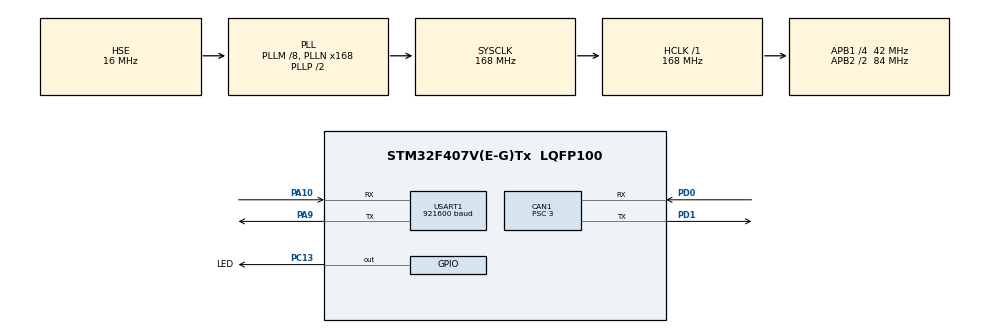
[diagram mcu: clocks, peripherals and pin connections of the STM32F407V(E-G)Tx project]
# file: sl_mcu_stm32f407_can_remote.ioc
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CAN1.BS1=CAN_BS1_11TQ
CAN1.BS2=CAN_BS2_2TQ
CAN1.CalculateBaudRate=1000000
CAN1.CalculateTimeBit=1000
CAN1.CalculateTimeQuantum=71.42857142857143
CAN1.Prescaler=3
Mcu.Family=STM32F4
Mcu.Name=STM32F407V(E-G)Tx
Mcu.Package=LQFP100
NVIC.CAN1_RX0_IRQn=true\:0\:0\:false\:false\:true\:true\:true\:true
NVIC.CAN1_RX1_IRQn=true\:0\:0\:false\:false\:true\:true\:true\:true
NVIC.CAN1_SCE_IRQn=true\:0\:0\:false\:false\:true\:true\:true\:true
NVIC.CAN1_TX_IRQn=true\:0\:0\:false\:false\:true\:true\:true\:true
NVIC.PriorityGroup=NVIC_PRIORITYGROUP_4
PA10.Mode=Asynchronous
PA10.Signal=USART1_RX
PA13.Mode=Trace_Asynchronous_SW
PA13.Signal=SYS_JTMS-SWDIO
PA14.Mode=Trace_Asynchronous_SW
PA14.Signal=SYS_JTCK-SWCLK
PA9.Mode=Asynchronous
PA9.Signal=USART1_TX
PB3.Mode=Trace_Asynchronous_SW
PB3.Signal=SYS_JTDO-SWO
PC13-ANTI_TAMP.GPIO_Label=LED
PC13-ANTI_TAMP.GPIO_ModeDefaultOutputPP=GPIO_MODE_OUTPUT_OD
PC13-ANTI_TAMP.GPIO_PuPd=GPIO_NOPULL
PC13-ANTI_TAMP.PinState=GPIO_PIN_SET
PC13-ANTI_TAMP.Signal=GPIO_Output
PD0.Mode=CAN_Activate
PD0.Signal=CAN1_RX
PD1.Mode=CAN_Activate
PD1.Signal=CAN1_TX
PH0-OSC_IN.Mode=HSE-External-Oscillator
PH0-OSC_IN.Signal=RCC_OSC_IN
PH1-OSC_OUT.Mode=HSE-External-Oscillator
PH1-OSC_OUT.Signal=RCC_OSC_OUT
ProjectManager.HeapSize=0x200
ProjectManager.StackSize=0x400
ProjectManager.TargetToolchain=STM32CubeIDE
RCC.48MHZClocksFreq_Value=48000000
RCC.AHBFreq_Value=168000000
RCC.APB1CLKDivider=RCC_HCLK_DIV4
RCC.APB1Freq_Value=42000000
RCC.APB1TimFreq_Value=84000000
RCC.APB2CLKDivider=RCC_HCLK_DIV2
RCC.APB2Freq_Value=84000000
RCC.APB2TimFreq_Value=168000000
RCC.CortexFreq_Value=168000000
RCC.HCLKFreq_Value=168000000
RCC.HSE_VALUE=16000000
RCC.HSI_VALUE=16000000
RCC.LSE_VALUE=32768
RCC.PLLM=8
RCC.PLLN=168
RCC.PLLQ=7
RCC.PLLSourceVirtual=RCC_PLLSOURCE_HSE
RCC.SYSCLKFreq_VALUE=168000000
RCC.SYSCLKSource=RCC_SYSCLKSOURCE_PLLCLK
RCC.VCOOutputFreq_Value=336000000
USART1.BaudRate=921600
USART1.OverSampling=UART_OVERSAMPLING_8
USART1.VirtualMode=VM_ASYNC
VP_RNG_VS_RNG.Mode=RNG_Activate
board=custom

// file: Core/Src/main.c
/* USER CODE BEGIN Header */
/**
 ******************************************************************************
 * @file           : main.c
 * @brief          : Main program body
 ******************************************************************************
 * @attention
 *
 * Copyright (c) 2026 STM32World <lth@stm32world.com>
 * All rights reserved.
 *
 * This software is licensed under terms that can be found in the LICENSE file
 * in the root directory of this software component.
 * If no LICENSE file comes with this software, it is provided AS-IS.
 *
 ******************************************************************************
 */
/* USER CODE END Header */
#include "main.h"

/* USER CODE BEGIN Includes */
#include <stdio.h>
/* USER CODE END Includes */

/* USER CODE BEGIN PD */

// Our Message IDs
#define CAN_ID_UPT     0b10111111100   // 0x5fc - 1532
#define CAN_ID_RND     0b10111111101   // 0x5fd - 1533

#define CAN_FILTER_ID_REMOTE 0b00010000

/* USER CODE END PD */

CAN_HandleTypeDef hcan1;

RNG_HandleTypeDef hrng;

UART_HandleTypeDef huart1;

/* USER CODE BEGIN PV */

CAN_TxHeaderTypeDef TxHeader;
CAN_RxHeaderTypeDef RxHeader;

uint8_t TxData[8];
uint8_t RxData[8];

uint32_t msg_count = 0;

/* USER CODE END PV */

void SystemClock_Config(void);
static void MX_GPIO_Init(void);
static void MX_USART1_UART_Init(void);
static void MX_CAN1_Init(void);
static void MX_RNG_Init(void);

/* USER CODE BEGIN 0 */

// Send printf to uart1
int __io_putchar(int ch) {
    if (ch == '\n') {
        HAL_UART_Transmit(&huart1, (uint8_t*) "\r", 1, HAL_MAX_DELAY);
    }
    if (HAL_UART_Transmit(&huart1, (uint8_t*) &ch, 1, HAL_MAX_DELAY) != HAL_OK) {
        return -1;
    }
    return ch;
}

// CAN Callbacks

void HAL_CAN_TxMailbox0CompleteCallback(CAN_HandleTypeDef *hcan) {
    printf("ST HAL_CAN_TxMailbox0CompleteCallback\n");
}

void HAL_CAN_TxMailbox1CompleteCallback(CAN_HandleTypeDef *hcan) {
    printf("ST HAL_CAN_TxMailbox1CompleteCallback\n");
}

void HAL_CAN_TxMailbox2CompleteCallback(CAN_HandleTypeDef *hcan) {
    printf("ST HAL_CAN_TxMailbox2CompleteCallback\n");
}

void HAL_CAN_TxMailbox0AbortCallback(CAN_HandleTypeDef *hcan) {
    printf("ST HAL_CAN_TxMailbox0AbortCallback\n");
}

void HAL_CAN_TxMailbox1AbortCallback(CAN_HandleTypeDef *hcan) {
    printf("ST HAL_CAN_TxMailbox1AbortCallback\n");
}

void HAL_CAN_TxMailbox2AbortCallback(CAN_HandleTypeDef *hcan) {
    printf("ST HAL_CAN_TxMailbox2AbortCallback\n");
}

void HAL_CAN_RxFifo0MsgPendingCallback(CAN_HandleTypeDef *hcan) {
    printf("ST HAL_CAN_RxFifo0MsgPendingCallback\n");
    if (HAL_CAN_GetRxMessage(hcan, CAN_RX_FIFO0, &RxHeader, RxData) != HAL_OK) {
        printf("ST Error receiving\n");
        Error_Handler();
    }

    if (hcan->Instance == CAN1) {
        printf("ST Got message on CAN1\n");
        if (RxHeader.RTR == CAN_RTR_REMOTE) {

            printf("ST CAN1 does not handle RTR\n");

        } else {

            uint32_t *i = (uint32_t*) &RxData[0];

            if (RxHeader.RTR == CAN_RTR_DATA) {
                if (RxHeader.StdId == CAN_ID_UPT) {
                    printf("ST CAN1 received uptime: %lu\n", *i);
                } else if (RxHeader.StdId == CAN_ID_RND) {
                    printf("ST CAN1 received random: %lu\n", *i);
                } else {
                    printf("ST Unknown data message on CAN1\n");
                }
            }

        }
    }

}

void HAL_CAN_RxFifo0FullCallback(CAN_HandleTypeDef *hcan) {
    printf("ST HAL_CAN_RxFifo0FullCallback\n");
}

void HAL_CAN_RxFifo1MsgPendingCallback(CAN_HandleTypeDef *hcan) {
    printf("ST HAL_CAN_RxFifo1MsgPendingCallback\n");
}

void HAL_CAN_RxFifo1FullCallback(CAN_HandleTypeDef *hcan) {
    printf("ST HAL_CAN_RxFifo1FullCallback\n");
}

void HAL_CAN_SleepCallback(CAN_HandleTypeDef *hcan) {
    printf("ST HAL_CAN_SleepCallback\n");
}

void HAL_CAN_WakeUpFromRxMsgCallback(CAN_HandleTypeDef *hcan) {
    printf("ST HAL_CAN_WakeUpFromRxMsgCallback\n");
}

void HAL_CAN_ErrorCallback(CAN_HandleTypeDef *hcan) {
    printf("ST HAL_CAN_ErrorCallback\n");
}

/* USER CODE END 0 */

int main(void)
{

    /* MCU Configuration--------------------------------------------------------*/

    /* Reset of all peripherals, Initializes the Flash interface and the Systick. */
    HAL_Init();

    /* Configure the system clock */
    SystemClock_Config();

    /* Initialize all configured peripherals */
    MX_GPIO_Init();
    MX_USART1_UART_Init();
    MX_CAN1_Init();
    MX_RNG_Init();
    /* USER CODE BEGIN 2 */

    printf("\n\n\n\n--------\r\nST Starting CAN Test\n");

    CAN_FilterTypeDef canfilterconfig;

    // Create filter for CAN1
    canfilterconfig.FilterActivation = CAN_FILTER_ENABLE;
    canfilterconfig.FilterBank = 0;  // anything between 0 to SlaveStartFilterBank
    canfilterconfig.SlaveStartFilterBank = 13;  // 13 to 27 are assigned to slave CAN (CAN 2) OR 0 to 12 are assgned to CAN1
    canfilterconfig.FilterFIFOAssignment = CAN_RX_FIFO0;
    canfilterconfig.FilterIdLow = (CAN_ID_UPT << 5);
    canfilterconfig.FilterIdHigh = (CAN_ID_RND << 5);
    canfilterconfig.FilterMode = CAN_FILTERMODE_IDLIST;
    canfilterconfig.FilterScale = CAN_FILTERSCALE_16BIT;

    HAL_CAN_ConfigFilter(&hcan1, &canfilterconfig);

    HAL_CAN_Start(&hcan1);

    HAL_CAN_ActivateNotification(
            &hcan1,
            CAN_IT_TX_MAILBOX_EMPTY |
            CAN_IT_RX_FIFO0_MSG_PENDING |
            CAN_IT_RX_FIFO0_FULL |
            CAN_IT_RX_FIFO0_OVERRUN |
            CAN_IT_RX_FIFO1_MSG_PENDING |
            CAN_IT_RX_FIFO1_FULL |
            CAN_IT_RX_FIFO1_OVERRUN |
            CAN_IT_WAKEUP |
            CAN_IT_SLEEP_ACK |
            CAN_IT_ERROR_WARNING |
            CAN_IT_ERROR_PASSIVE |
            CAN_IT_BUSOFF |
            CAN_IT_LAST_ERROR_CODE |
            CAN_IT_ERROR
            );

    /* USER CODE END 2 */

    /* Infinite loop */
    /* USER CODE BEGIN WHILE */

    register uint32_t now = 0, loop_cnt = 0, next_blink = 500, next_tick = 1000, next_tx0 = 5000, next_tx1 = 10000;

    while (1) {

        now = uwTick;

        if (now >= next_blink) {
            HAL_GPIO_TogglePin(LED_GPIO_Port, LED_Pin);
            next_blink += 500;
        }

        if (now >= next_tick) {

            printf("ST tick %lu (loop = %lu)\n", now / 1000, loop_cnt);

            loop_cnt = 0;
            next_tick = now + 1000;
        }

        if (now >= next_tx0) {

            printf("ST CAN1 Requesting uptime\n");

            TxHeader.DLC = 4;
            TxHeader.IDE = CAN_ID_STD;
            TxHeader.RTR = CAN_RTR_REMOTE;
            TxHeader.StdId = CAN_ID_UPT;

            uint32_t mb0;
            if (HAL_CAN_AddTxMessage(&hcan1, &TxHeader, NULL, &mb0) != HAL_OK) {
                Error_Handler();
            }

            next_tx0 = now + 10000;
        }

        if (now >= next_tx1) {

            printf("ST CAN1 Requesting random\n");

            TxHeader.DLC = 4;
            TxHeader.IDE = CAN_ID_STD;
            TxHeader.RTR = CAN_RTR_REMOTE;
            TxHeader.StdId = CAN_ID_RND;

            uint32_t mb0;
            if (HAL_CAN_AddTxMessage(&hcan1, &TxHeader, NULL, &mb0) != HAL_OK) {
                Error_Handler();
            }

            next_tx1 = now + 10000;
        }

        ++loop_cnt;

        /* USER CODE END WHILE */

    }
}

void SystemClock_Config(void)
{
    RCC_OscInitTypeDef RCC_OscInitStruct = { 0 };
    RCC_ClkInitTypeDef RCC_ClkInitStruct = { 0 };

    /** Configure the main internal regulator output voltage
     */
    __HAL_RCC_PWR_CLK_ENABLE();
    __HAL_PWR_VOLTAGESCALING_CONFIG(PWR_REGULATOR_VOLTAGE_SCALE1);

    /** Initializes the RCC Oscillators according to the specified parameters
     * in the RCC_OscInitTypeDef structure.
     */
    RCC_OscInitStruct.OscillatorType = RCC_OSCILLATORTYPE_HSE;
    RCC_OscInitStruct.HSEState = RCC_HSE_ON;
    RCC_OscInitStruct.PLL.PLLState = RCC_PLL_ON;
    RCC_OscInitStruct.PLL.PLLSource = RCC_PLLSOURCE_HSE;
    RCC_OscInitStruct.PLL.PLLM = 8;
    RCC_OscInitStruct.PLL.PLLN = 168;
    RCC_OscInitStruct.PLL.PLLP = RCC_PLLP_DIV2;
    RCC_OscInitStruct.PLL.PLLQ = 7;
    if (HAL_RCC_OscConfig(&RCC_OscInitStruct) != HAL_OK)
            {
        Error_Handler();
    }

    /** Initializes the CPU, AHB and APB buses clocks
     */
    RCC_ClkInitStruct.ClockType = RCC_CLOCKTYPE_HCLK | RCC_CLOCKTYPE_SYSCLK
            | RCC_CLOCKTYPE_PCLK1 | RCC_CLOCKTYPE_PCLK2;
    RCC_ClkInitStruct.SYSCLKSource = RCC_SYSCLKSOURCE_PLLCLK;
    RCC_ClkInitStruct.AHBCLKDivider = RCC_SYSCLK_DIV1;
    RCC_ClkInitStruct.APB1CLKDivider = RCC_HCLK_DIV4;
    RCC_ClkInitStruct.APB2CLKDivider = RCC_HCLK_DIV2;

    if (HAL_RCC_ClockConfig(&RCC_ClkInitStruct, FLASH_LATENCY_5) != HAL_OK)
            {
        Error_Handler();
    }
}

static void MX_CAN1_Init(void)
{

    hcan1.Instance = CAN1;
    hcan1.Init.Prescaler = 3;
    hcan1.Init.Mode = CAN_MODE_NORMAL;
    hcan1.Init.SyncJumpWidth = CAN_SJW_1TQ;
    hcan1.Init.TimeSeg1 = CAN_BS1_11TQ;
    hcan1.Init.TimeSeg2 = CAN_BS2_2TQ;
    hcan1.Init.TimeTriggeredMode = DISABLE;
    hcan1.Init.AutoBusOff = DISABLE;
    hcan1.Init.AutoWakeUp = DISABLE;
    hcan1.Init.AutoRetransmission = DISABLE;
    hcan1.Init.ReceiveFifoLocked = DISABLE;
    hcan1.Init.TransmitFifoPriority = DISABLE;
    if (HAL_CAN_Init(&hcan1) != HAL_OK)
            {
        Error_Handler();
    }

}

static void MX_RNG_Init(void)
{

    hrng.Instance = RNG;
    if (HAL_RNG_Init(&hrng) != HAL_OK)
            {
        Error_Handler();
    }

}

static void MX_USART1_UART_Init(void)
{

    huart1.Instance = USART1;
    huart1.Init.BaudRate = 921600;
    huart1.Init.WordLength = UART_WORDLENGTH_8B;
    huart1.Init.StopBits = UART_STOPBITS_1;
    huart1.Init.Parity = UART_PARITY_NONE;
    huart1.Init.Mode = UART_MODE_TX_RX;
    huart1.Init.HwFlowCtl = UART_HWCONTROL_NONE;
    huart1.Init.OverSampling = UART_OVERSAMPLING_8;
    if (HAL_UART_Init(&huart1) != HAL_OK)
            {
        Error_Handler();
    }

}

static void MX_GPIO_Init(void)
{
    GPIO_InitTypeDef GPIO_InitStruct = { 0 };

    /* GPIO Ports Clock Enable */
    __HAL_RCC_GPIOC_CLK_ENABLE();
    __HAL_RCC_GPIOH_CLK_ENABLE();
    __HAL_RCC_GPIOA_CLK_ENABLE();
    __HAL_RCC_GPIOD_CLK_ENABLE();
    __HAL_RCC_GPIOB_CLK_ENABLE();

    /*Configure GPIO pin Output Level */
    HAL_GPIO_WritePin(LED_GPIO_Port, LED_Pin, GPIO_PIN_SET);

    /*Configure GPIO pin : LED_Pin */
    GPIO_InitStruct.Pin = LED_Pin;
    GPIO_InitStruct.Mode = GPIO_MODE_OUTPUT_OD;
    GPIO_InitStruct.Pull = GPIO_NOPULL;
    GPIO_InitStruct.Speed = GPIO_SPEED_FREQ_LOW;
    HAL_GPIO_Init(LED_GPIO_Port, &GPIO_InitStruct);

}

void Error_Handler(void)
{
    __disable_irq();
    while (1)
    {
    }
}
